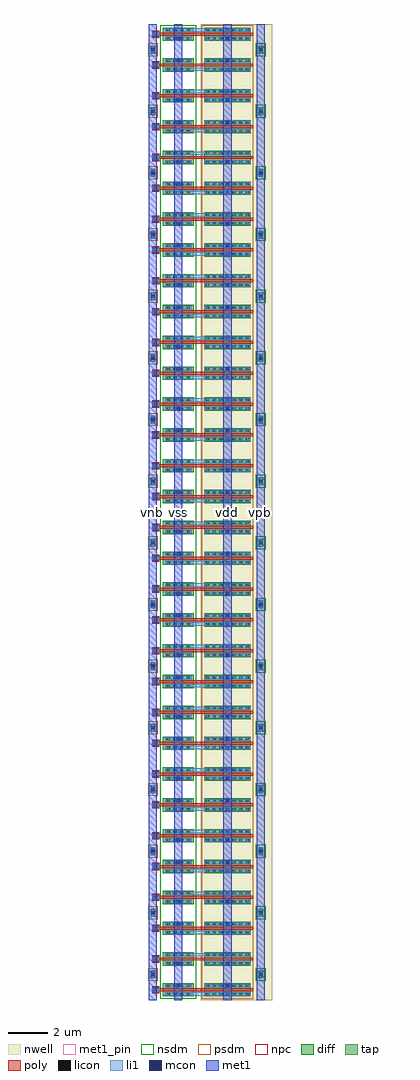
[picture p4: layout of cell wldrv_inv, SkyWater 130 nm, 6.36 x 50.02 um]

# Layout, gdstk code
import gdstk
lib = gdstk.Library(unit=1e-6, precision=1e-09)
def R(c, l, rs):  # rectangles x0, y0, x1, y1
    for r in rs: c.add(gdstk.rectangle(r[:2], r[2:], *l))
def A(c, l, x, y, w, h, nx, ny, dx, dy):  # array of equal rectangles
    R(c, l, [(x+i*dx, y+j*dy, x+i*dx+w, y+j*dy+h) for i in range(nx) for j in range(ny)])
nwell = (64, 20)
diff = (65, 20)
tap = (65, 44)
poly = (66, 20)
licon = (66, 44)
li1 = (67, 20)
mcon = (67, 44)
met1_pin = (68, 16)
met1 = (68, 20)
nsdm = (93, 44)
psdm = (94, 20)
npc = (95, 20)

ntap_1x1v = lib.new_cell('ntap_1x1v')
R(ntap_1x1v, tap, [(-0.04,-0.12,0.21,0.29)])
R(ntap_1x1v, licon, [(0,0,0.17,0.17)])
R(ntap_1x1v, li1, [(0,-0.08,0.17,0.25)])
R(ntap_1x1v, nsdm, [(-0.165,-0.245,0.335,0.415)])

ptap_1x1v = lib.new_cell('ptap_1x1v')
R(ptap_1x1v, tap, [(-0.04,-0.12,0.21,0.29)])
R(ptap_1x1v, licon, [(0,0,0.17,0.17)])
R(ptap_1x1v, li1, [(0,-0.08,0.17,0.25)])
R(ptap_1x1v, psdm, [(-0.165,-0.245,0.335,0.415)])

viali_1x1v = lib.new_cell('viali_1x1v')
R(viali_1x1v, li1, [(0,0,0.17,0.17)])
R(viali_1x1v, mcon, [(0,0,0.17,0.17)])
R(viali_1x1v, met1, [(-0.03,-0.06,0.2,0.23)])

viali_1x1h = lib.new_cell('viali_1x1h')
R(viali_1x1h, li1, [(0,0,0.17,0.17)])
R(viali_1x1h, mcon, [(0,0,0.17,0.17)])
R(viali_1x1h, met1, [(-0.06,-0.03,0.23,0.2)])

wldrv_inv_route = lib.new_cell('wldrv_inv_route')
R(wldrv_inv_route, met1, [(-0.715,-0.18,-0.295,49.84), (0.59,-0.18,1.01,49.84), (3.11,-0.18,3.53,49.84), (4.815,-0.18,5.235,49.84)])
wldrv_inv_route.add(gdstk.Reference(viali_1x1v, (4.94,1.045)))
wldrv_inv_route.add(gdstk.Reference(viali_1x1v, (4.94,4.205)))
wldrv_inv_route.add(gdstk.Reference(viali_1x1v, (4.94,7.365)))
wldrv_inv_route.add(gdstk.Reference(viali_1x1v, (4.94,10.525)))
wldrv_inv_route.add(gdstk.Reference(viali_1x1v, (4.94,13.685)))
wldrv_inv_route.add(gdstk.Reference(viali_1x1v, (4.94,16.845)))
wldrv_inv_route.add(gdstk.Reference(viali_1x1v, (4.94,20.005)))
wldrv_inv_route.add(gdstk.Reference(viali_1x1v, (4.94,23.165)))
wldrv_inv_route.add(gdstk.Reference(viali_1x1v, (4.94,26.325)))
wldrv_inv_route.add(gdstk.Reference(viali_1x1v, (4.94,29.485)))
wldrv_inv_route.add(gdstk.Reference(viali_1x1v, (4.94,32.645)))
wldrv_inv_route.add(gdstk.Reference(viali_1x1v, (4.94,35.805)))
wldrv_inv_route.add(gdstk.Reference(viali_1x1v, (4.94,38.965)))
wldrv_inv_route.add(gdstk.Reference(viali_1x1v, (4.94,42.125)))
wldrv_inv_route.add(gdstk.Reference(viali_1x1v, (4.94,45.285)))
wldrv_inv_route.add(gdstk.Reference(viali_1x1v, (4.94,48.445)))
wldrv_inv_route.add(gdstk.Reference(viali_1x1v, (-0.59,1.045)))
wldrv_inv_route.add(gdstk.Reference(viali_1x1v, (-0.59,4.205)))
wldrv_inv_route.add(gdstk.Reference(viali_1x1v, (-0.59,7.365)))
wldrv_inv_route.add(gdstk.Reference(viali_1x1v, (-0.59,10.525)))
wldrv_inv_route.add(gdstk.Reference(viali_1x1v, (-0.59,13.685)))
wldrv_inv_route.add(gdstk.Reference(viali_1x1v, (-0.59,16.845)))
wldrv_inv_route.add(gdstk.Reference(viali_1x1v, (-0.59,20.005)))
wldrv_inv_route.add(gdstk.Reference(viali_1x1v, (-0.59,23.165)))
wldrv_inv_route.add(gdstk.Reference(viali_1x1v, (-0.59,26.325)))
wldrv_inv_route.add(gdstk.Reference(viali_1x1v, (-0.59,29.485)))
wldrv_inv_route.add(gdstk.Reference(viali_1x1v, (-0.59,32.645)))
wldrv_inv_route.add(gdstk.Reference(viali_1x1v, (-0.59,35.805)))
wldrv_inv_route.add(gdstk.Reference(viali_1x1v, (-0.59,38.965)))
wldrv_inv_route.add(gdstk.Reference(viali_1x1v, (-0.59,42.125)))
wldrv_inv_route.add(gdstk.Reference(viali_1x1v, (-0.59,45.285)))
wldrv_inv_route.add(gdstk.Reference(viali_1x1v, (-0.59,48.445)))
wldrv_inv_route.add(gdstk.Reference(viali_1x1h, (3.235,0.47)))
wldrv_inv_route.add(gdstk.Reference(viali_1x1h, (3.235,1.62)))
wldrv_inv_route.add(gdstk.Reference(viali_1x1h, (3.235,3.63)))
wldrv_inv_route.add(gdstk.Reference(viali_1x1h, (3.235,4.78)))
wldrv_inv_route.add(gdstk.Reference(viali_1x1h, (3.235,6.79)))
wldrv_inv_route.add(gdstk.Reference(viali_1x1h, (3.235,7.94)))
wldrv_inv_route.add(gdstk.Reference(viali_1x1h, (3.235,9.95)))
wldrv_inv_route.add(gdstk.Reference(viali_1x1h, (3.235,11.1)))
wldrv_inv_route.add(gdstk.Reference(viali_1x1h, (3.235,13.11)))
wldrv_inv_route.add(gdstk.Reference(viali_1x1h, (3.235,14.26)))
wldrv_inv_route.add(gdstk.Reference(viali_1x1h, (3.235,16.27)))
wldrv_inv_route.add(gdstk.Reference(viali_1x1h, (3.235,17.42)))
wldrv_inv_route.add(gdstk.Reference(viali_1x1h, (3.235,19.43)))
wldrv_inv_route.add(gdstk.Reference(viali_1x1h, (3.235,20.58)))
wldrv_inv_route.add(gdstk.Reference(viali_1x1h, (3.235,22.59)))
wldrv_inv_route.add(gdstk.Reference(viali_1x1h, (3.235,23.74)))
wldrv_inv_route.add(gdstk.Reference(viali_1x1h, (3.235,25.75)))
wldrv_inv_route.add(gdstk.Reference(viali_1x1h, (3.235,26.9)))
wldrv_inv_route.add(gdstk.Reference(viali_1x1h, (3.235,28.91)))
wldrv_inv_route.add(gdstk.Reference(viali_1x1h, (3.235,30.06)))
wldrv_inv_route.add(gdstk.Reference(viali_1x1h, (3.235,32.07)))
wldrv_inv_route.add(gdstk.Reference(viali_1x1h, (3.235,33.22)))
wldrv_inv_route.add(gdstk.Reference(viali_1x1h, (3.235,35.23)))
wldrv_inv_route.add(gdstk.Reference(viali_1x1h, (3.235,36.38)))
wldrv_inv_route.add(gdstk.Reference(viali_1x1h, (3.235,38.39)))
wldrv_inv_route.add(gdstk.Reference(viali_1x1h, (3.235,39.54)))
wldrv_inv_route.add(gdstk.Reference(viali_1x1h, (3.235,41.55)))
wldrv_inv_route.add(gdstk.Reference(viali_1x1h, (3.235,42.7)))
wldrv_inv_route.add(gdstk.Reference(viali_1x1h, (3.235,44.71)))
wldrv_inv_route.add(gdstk.Reference(viali_1x1h, (3.235,45.86)))
wldrv_inv_route.add(gdstk.Reference(viali_1x1h, (3.235,47.87)))
wldrv_inv_route.add(gdstk.Reference(viali_1x1h, (3.235,49.02)))
wldrv_inv_route.add(gdstk.Reference(viali_1x1h, (0.715,0.47)))
wldrv_inv_route.add(gdstk.Reference(viali_1x1h, (0.715,1.62)))
wldrv_inv_route.add(gdstk.Reference(viali_1x1h, (0.715,3.63)))
wldrv_inv_route.add(gdstk.Reference(viali_1x1h, (0.715,4.78)))
wldrv_inv_route.add(gdstk.Reference(viali_1x1h, (0.715,6.79)))
wldrv_inv_route.add(gdstk.Reference(viali_1x1h, (0.715,7.94)))
wldrv_inv_route.add(gdstk.Reference(viali_1x1h, (0.715,9.95)))
wldrv_inv_route.add(gdstk.Reference(viali_1x1h, (0.715,11.1)))
wldrv_inv_route.add(gdstk.Reference(viali_1x1h, (0.715,13.11)))
wldrv_inv_route.add(gdstk.Reference(viali_1x1h, (0.715,14.26)))
wldrv_inv_route.add(gdstk.Reference(viali_1x1h, (0.715,16.27)))
wldrv_inv_route.add(gdstk.Reference(viali_1x1h, (0.715,17.42)))
wldrv_inv_route.add(gdstk.Reference(viali_1x1h, (0.715,19.43)))
wldrv_inv_route.add(gdstk.Reference(viali_1x1h, (0.715,20.58)))
wldrv_inv_route.add(gdstk.Reference(viali_1x1h, (0.715,22.59)))
wldrv_inv_route.add(gdstk.Reference(viali_1x1h, (0.715,23.74)))
wldrv_inv_route.add(gdstk.Reference(viali_1x1h, (0.715,25.75)))
wldrv_inv_route.add(gdstk.Reference(viali_1x1h, (0.715,26.9)))
wldrv_inv_route.add(gdstk.Reference(viali_1x1h, (0.715,28.91)))
wldrv_inv_route.add(gdstk.Reference(viali_1x1h, (0.715,30.06)))
wldrv_inv_route.add(gdstk.Reference(viali_1x1h, (0.715,32.07)))
wldrv_inv_route.add(gdstk.Reference(viali_1x1h, (0.715,33.22)))
wldrv_inv_route.add(gdstk.Reference(viali_1x1h, (0.715,35.23)))
wldrv_inv_route.add(gdstk.Reference(viali_1x1h, (0.715,36.38)))
wldrv_inv_route.add(gdstk.Reference(viali_1x1h, (0.715,38.39)))
wldrv_inv_route.add(gdstk.Reference(viali_1x1h, (0.715,39.54)))
wldrv_inv_route.add(gdstk.Reference(viali_1x1h, (0.715,41.55)))
wldrv_inv_route.add(gdstk.Reference(viali_1x1h, (0.715,42.7)))
wldrv_inv_route.add(gdstk.Reference(viali_1x1h, (0.715,44.71)))
wldrv_inv_route.add(gdstk.Reference(viali_1x1h, (0.715,45.86)))
wldrv_inv_route.add(gdstk.Reference(viali_1x1h, (0.715,47.87)))
wldrv_inv_route.add(gdstk.Reference(viali_1x1h, (0.715,49.02)))

polyc_1x1h = lib.new_cell('polyc_1x1h')
R(polyc_1x1h, poly, [(-0.08,-0.05,0.25,0.22)])
R(polyc_1x1h, licon, [(0,0,0.17,0.17)])
R(polyc_1x1h, li1, [(-0.08,0,0.25,0.17)])
R(polyc_1x1h, npc, [(-0.1,-0.1,0.27,0.27)])

ndiffc_1x4h = lib.new_cell('ndiffc_1x4h')
R(ndiffc_1x4h, diff, [(-0.06,-0.04,1.25,0.21)])
A(ndiffc_1x4h, licon, 0, 0, 0.17, 0.17, 4, 1, 0.34, 0)
R(ndiffc_1x4h, li1, [(-0.08,0,1.27,0.17)])
R(ndiffc_1x4h, nsdm, [(-0.185,-0.165,1.375,0.335)])

pdiffc_1x7h = lib.new_cell('pdiffc_1x7h')
R(pdiffc_1x7h, nwell, [(-0.24,-0.22,2.45,0.39)])
R(pdiffc_1x7h, diff, [(-0.06,-0.04,2.27,0.21)])
A(pdiffc_1x7h, licon, 0, 0, 0.17, 0.17, 7, 1, 0.34, 0)
R(pdiffc_1x7h, li1, [(-0.08,0,2.29,0.17)])
R(pdiffc_1x7h, psdm, [(-0.185,-0.165,2.395,0.335)])

ptx__nmos_svt_1600_150_1 = lib.new_cell('ptx__nmos_svt_1600_150_1__pmos_svt_2400_150_1')
R(ptx__nmos_svt_1600_150_1, nwell, [(1.94,-0.18,4.7,0.86)])
R(ptx__nmos_svt_1600_150_1, diff, [(0,0,1.6,0.68), (2.12,0,4.52,0.68)])
R(ptx__nmos_svt_1600_150_1, poly, [(-0.19,0.265,4.65,0.415)])
R(ptx__nmos_svt_1600_150_1, nsdm, [(-0.125,-0.125,1.725,0.805)])
R(ptx__nmos_svt_1600_150_1, psdm, [(1.995,-0.125,4.645,0.805)])
R(ptx__nmos_svt_1600_150_1, npc, [(-0.54,0.155,-0.17,0.525)])
ptx__nmos_svt_1600_150_1.add(gdstk.Reference(polyc_1x1h, (-0.44,0.255)))
ptx__nmos_svt_1600_150_1.add(gdstk.Reference(ndiffc_1x4h, (0.205,0.04)))
ptx__nmos_svt_1600_150_1.add(gdstk.Reference(pdiffc_1x7h, (2.215,0.04)))
ptx__nmos_svt_1600_150_1.add(gdstk.Reference(ndiffc_1x4h, (0.205,0.47)))
ptx__nmos_svt_1600_150_1.add(gdstk.Reference(pdiffc_1x7h, (2.215,0.47)))

wldrv_inv_inv = lib.new_cell('wldrv_inv_inv')
R(wldrv_inv_inv, li1, [(0.125,0.47,4.505,0.64)])
wldrv_inv_inv.add(gdstk.Reference(ptx__nmos_svt_1600_150_1, (0,0)))

wldrv_inv_array = lib.new_cell('wldrv_inv_array')
wldrv_inv_array.add(gdstk.Reference(wldrv_inv_inv, (0,0.68), x_reflection=True))
wldrv_inv_array.add(gdstk.Reference(wldrv_inv_inv, (0,1.58)))
wldrv_inv_array.add(gdstk.Reference(wldrv_inv_inv, (0,3.84), x_reflection=True))
wldrv_inv_array.add(gdstk.Reference(wldrv_inv_inv, (0,4.74)))
wldrv_inv_array.add(gdstk.Reference(wldrv_inv_inv, (0,7), x_reflection=True))
wldrv_inv_array.add(gdstk.Reference(wldrv_inv_inv, (0,7.9)))
wldrv_inv_array.add(gdstk.Reference(wldrv_inv_inv, (0,10.16), x_reflection=True))
wldrv_inv_array.add(gdstk.Reference(wldrv_inv_inv, (0,11.06)))
wldrv_inv_array.add(gdstk.Reference(wldrv_inv_inv, (0,13.32), x_reflection=True))
wldrv_inv_array.add(gdstk.Reference(wldrv_inv_inv, (0,14.22)))
wldrv_inv_array.add(gdstk.Reference(wldrv_inv_inv, (0,16.48), x_reflection=True))
wldrv_inv_array.add(gdstk.Reference(wldrv_inv_inv, (0,17.38)))
wldrv_inv_array.add(gdstk.Reference(wldrv_inv_inv, (0,19.64), x_reflection=True))
wldrv_inv_array.add(gdstk.Reference(wldrv_inv_inv, (0,20.54)))
wldrv_inv_array.add(gdstk.Reference(wldrv_inv_inv, (0,22.8), x_reflection=True))
wldrv_inv_array.add(gdstk.Reference(wldrv_inv_inv, (0,23.7)))
wldrv_inv_array.add(gdstk.Reference(wldrv_inv_inv, (0,25.96), x_reflection=True))
wldrv_inv_array.add(gdstk.Reference(wldrv_inv_inv, (0,26.86)))
wldrv_inv_array.add(gdstk.Reference(wldrv_inv_inv, (0,29.12), x_reflection=True))
wldrv_inv_array.add(gdstk.Reference(wldrv_inv_inv, (0,30.02)))
wldrv_inv_array.add(gdstk.Reference(wldrv_inv_inv, (0,32.28), x_reflection=True))
wldrv_inv_array.add(gdstk.Reference(wldrv_inv_inv, (0,33.18)))
wldrv_inv_array.add(gdstk.Reference(wldrv_inv_inv, (0,35.44), x_reflection=True))
wldrv_inv_array.add(gdstk.Reference(wldrv_inv_inv, (0,36.34)))
wldrv_inv_array.add(gdstk.Reference(wldrv_inv_inv, (0,38.6), x_reflection=True))
wldrv_inv_array.add(gdstk.Reference(wldrv_inv_inv, (0,39.5)))
wldrv_inv_array.add(gdstk.Reference(wldrv_inv_inv, (0,41.76), x_reflection=True))
wldrv_inv_array.add(gdstk.Reference(wldrv_inv_inv, (0,42.66)))
wldrv_inv_array.add(gdstk.Reference(wldrv_inv_inv, (0,44.92), x_reflection=True))
wldrv_inv_array.add(gdstk.Reference(wldrv_inv_inv, (0,45.82)))
wldrv_inv_array.add(gdstk.Reference(wldrv_inv_inv, (0,48.08), x_reflection=True))
wldrv_inv_array.add(gdstk.Reference(wldrv_inv_inv, (0,48.98)))

wldrv_inv = lib.new_cell('wldrv_inv')
R(wldrv_inv, nwell, [(1.94,-0.18,5.6,49.84)])
R(wldrv_inv, met1_pin, [(-0.715,-0.18,-0.295,49.84), (0.59,-0.18,1.01,49.84), (3.11,-0.18,3.53,49.84), (4.815,-0.18,5.235,49.84)])
R(wldrv_inv, nsdm, [(-0.125,-0.125,1.725,49.785)])
R(wldrv_inv, psdm, [(1.995,-0.125,4.645,49.785)])
wldrv_inv.add(gdstk.Reference(ntap_1x1v, (4.94,1.045)))
wldrv_inv.add(gdstk.Reference(ntap_1x1v, (4.94,4.205)))
wldrv_inv.add(gdstk.Reference(ntap_1x1v, (4.94,7.365)))
wldrv_inv.add(gdstk.Reference(ntap_1x1v, (4.94,10.525)))
wldrv_inv.add(gdstk.Reference(ntap_1x1v, (4.94,13.685)))
wldrv_inv.add(gdstk.Reference(ntap_1x1v, (4.94,16.845)))
wldrv_inv.add(gdstk.Reference(ntap_1x1v, (4.94,20.005)))
wldrv_inv.add(gdstk.Reference(ntap_1x1v, (4.94,23.165)))
wldrv_inv.add(gdstk.Reference(ntap_1x1v, (4.94,26.325)))
wldrv_inv.add(gdstk.Reference(ntap_1x1v, (4.94,29.485)))
wldrv_inv.add(gdstk.Reference(ntap_1x1v, (4.94,32.645)))
wldrv_inv.add(gdstk.Reference(ntap_1x1v, (4.94,35.805)))
wldrv_inv.add(gdstk.Reference(ntap_1x1v, (4.94,38.965)))
wldrv_inv.add(gdstk.Reference(ntap_1x1v, (4.94,42.125)))
wldrv_inv.add(gdstk.Reference(ntap_1x1v, (4.94,45.285)))
wldrv_inv.add(gdstk.Reference(ntap_1x1v, (4.94,48.445)))
wldrv_inv.add(gdstk.Reference(ptap_1x1v, (-0.59,1.045)))
wldrv_inv.add(gdstk.Reference(ptap_1x1v, (-0.59,4.205)))
wldrv_inv.add(gdstk.Reference(ptap_1x1v, (-0.59,7.365)))
wldrv_inv.add(gdstk.Reference(ptap_1x1v, (-0.59,10.525)))
wldrv_inv.add(gdstk.Reference(ptap_1x1v, (-0.59,13.685)))
wldrv_inv.add(gdstk.Reference(ptap_1x1v, (-0.59,16.845)))
wldrv_inv.add(gdstk.Reference(ptap_1x1v, (-0.59,20.005)))
wldrv_inv.add(gdstk.Reference(ptap_1x1v, (-0.59,23.165)))
wldrv_inv.add(gdstk.Reference(ptap_1x1v, (-0.59,26.325)))
wldrv_inv.add(gdstk.Reference(ptap_1x1v, (-0.59,29.485)))
wldrv_inv.add(gdstk.Reference(ptap_1x1v, (-0.59,32.645)))
wldrv_inv.add(gdstk.Reference(ptap_1x1v, (-0.59,35.805)))
wldrv_inv.add(gdstk.Reference(ptap_1x1v, (-0.59,38.965)))
wldrv_inv.add(gdstk.Reference(ptap_1x1v, (-0.59,42.125)))
wldrv_inv.add(gdstk.Reference(ptap_1x1v, (-0.59,45.285)))
wldrv_inv.add(gdstk.Reference(ptap_1x1v, (-0.59,48.445)))
wldrv_inv.add(gdstk.Reference(wldrv_inv_route, (0,0)))
wldrv_inv.add(gdstk.Reference(wldrv_inv_array, (0,0)))
wldrv_inv.add(gdstk.Label('vpb', (5.025,24.83), layer=68, texttype=16))
wldrv_inv.add(gdstk.Label('vnb', (-0.505,24.83), layer=68, texttype=16))
wldrv_inv.add(gdstk.Label('vdd', (3.32,24.83), layer=68, texttype=16))
wldrv_inv.add(gdstk.Label('vss', (0.8,24.83), layer=68, texttype=16))

lib.write_gds('wldrv_inv.gds')
